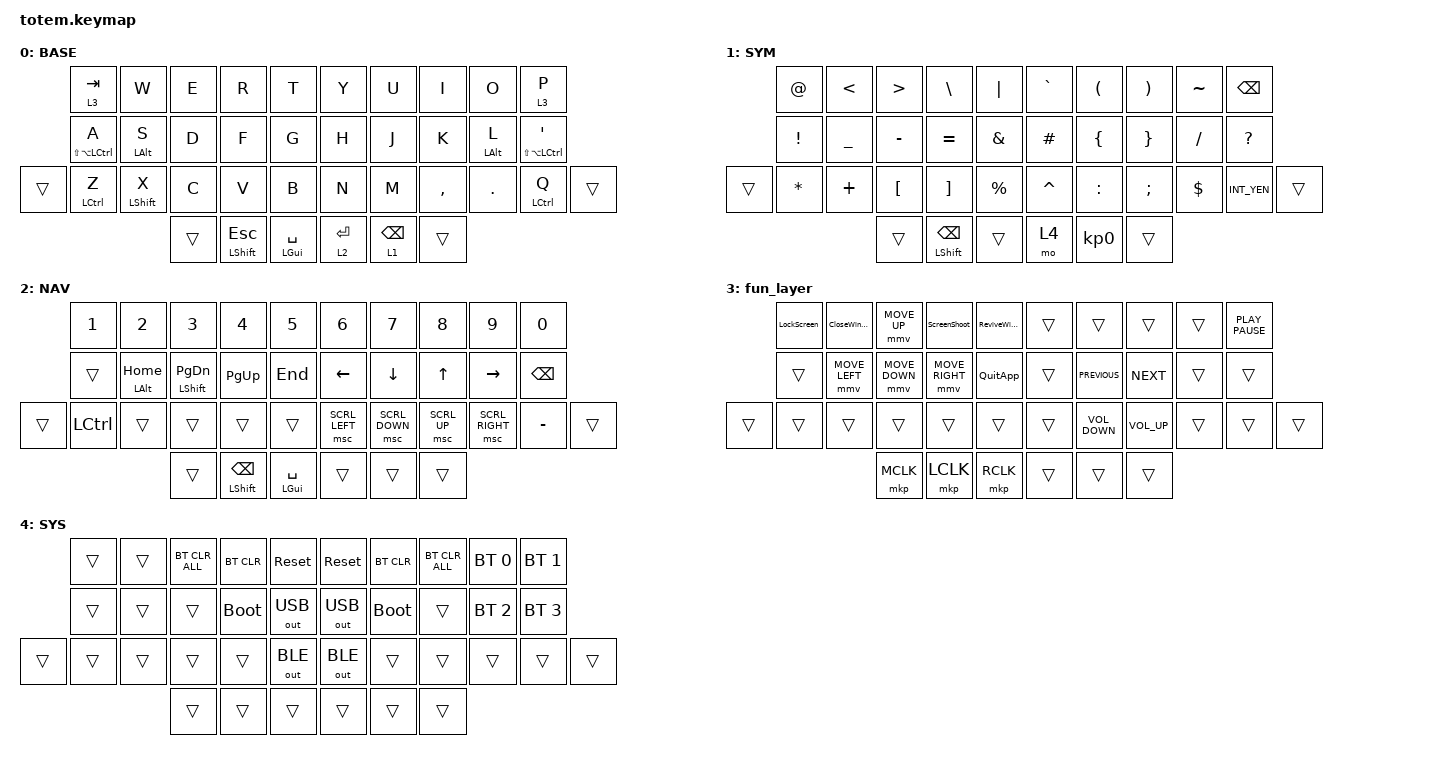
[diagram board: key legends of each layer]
//
//                                                        ▀▀▀▀▀     ▀▀▀▀▀          ▀▀█▀▀
//                                                        ▄▀▀▀▄  ▄  ▄▀▀▀▄  ▄  ▄▀▀▀▄  █  ▄▀▀▀▄
//                                                        █   █  █  █   █  █  █   █  █  █   █
//                                                         ▀▀▀   █   ▀▀▀   █   ▀▀▀   ▀   ▀▀▀
//                                                               █      ▄▄▄█▄▄▄    █   █  
//                                                               ▀      █  █  █     █▄█
//                                                             ▀▀▀▀▀    █  █  █      ▀
//                                                                      ▀  ▀  ▀
//
// ▄▄▄▄▄▄▄▄▄▄▄▄▄▄▄▄▄▄▄▄▄▄▄▄▄▄▄▄▄▄▄▄▄▄▄▄▄▄▄▄▄▄▄▄▄▄▄▄▄▄▄▄▄▄▄▄▄▄▄▄▄▄▄▄▄▄▄▄▄▄▄▄▄▄▄▄▄▄▄▄▄▄▄▄▄▄▄▄▄▄▄▄▄▄▄▄▄▄▄▄▄▄▄▄▄▄▄▄▄▄▄▄▄▄▄▄▄▄▄▄▄▄▄▄▄▄▄▄▄▄▄▄▄▄▄▄▄▄▄▄▄▄▄▄▄▄▄▄▄

#include <behaviors.dtsi>
#include <dt-bindings/zmk/bt.h>
#include <dt-bindings/zmk/keys.h>
#include <dt-bindings/zmk/outputs.h>
#include <dt-bindings/zmk/pointing.h>

#define BASE 0
#define NAV  1
#define SYM  2
#define ADJ  3
#define TVP1 4
#define TVP2 5

&mt {
    quick-tap-ms = <100>;
    global-quick-tap;
    flavor = "tap-preferred";
    tapping-term-ms = <180>;
};

/ {
    combos {
        compatible = "zmk,combos";

        Meh1 {
            bindings = <&kp LS(LA(LC(NUMBER_1)))>;
            key-positions = <6 7 8>;
        };

        Meh2 {
            bindings = <&kp LS(LA(LC(NUMBER_2)))>;
            key-positions = <16 17 18>;
        };

        Enter {
            bindings = <&kp ENTER>;
            key-positions = <28 29>;
            timeout-ms = <30>;
        };

        SysLayer {
            bindings = <&mo 4>;
            key-positions = <32 37>;
        };

        Tab {
            bindings = <&kp TAB>;
            key-positions = <23 24>;
            timeout-ms = <30>;
        };

        Hyper1 {
            bindings = <&kp LS(LA(LC(LG(NUMBER_1))))>;
            key-positions = <36 7 6>;
        };

        Hyper2 {
            bindings = <&kp LS(LA(LC(LG(NUMBER_2))))>;
            key-positions = <36 16 17>;
        };

        Hyper3 {
            bindings = <&kp LS(LA(LC(LG(NUMBER_3))))>;
            key-positions = <36 28 27>;
        };
    };

    macros {
        LockScreen: LockScreen {
            compatible = "zmk,behavior-macro";
            #binding-cells = <0>;
            bindings = <&kp LG(LC(Q))>;
            label = "LOCKSCREEN";
        };

        CloseWindow: CloseWindow {
            compatible = "zmk,behavior-macro";
            #binding-cells = <0>;
            bindings = <&kp LG(LS(W))>;
            label = "CLOSEWINDOW";
        };

        ScreenShoot: ScreenShoot {
            compatible = "zmk,behavior-macro";
            #binding-cells = <0>;
            bindings = <&kp LG(LS(NUMBER_4))>;
            label = "SCREENSHOOT";
        };

        ReviveWindow: ReviveWindow {
            compatible = "zmk,behavior-macro";
            #binding-cells = <0>;
            bindings = <&kp LG(LS(T))>;
            label = "REVIVEWINDOW";
        };

        Meh: Meh {
            compatible = "zmk,behavior-macro";
            #binding-cells = <0>;
            bindings = <&kp LS(LA(LEFT_CONTROL))>;
            label = "MEH";
        };

        QuitApp: QuitApp {
            compatible = "zmk,behavior-macro";
            #binding-cells = <0>;
            bindings = <&kp LG(Q)>;
            label = "QUITAPP";
        };
    };

    behaviors {
        mt_hold: mt_hold {
            compatible = "zmk,behavior-hold-tap";
            label = "MT_HOLD";
            bindings = <&kp>, <&kp>;

            #binding-cells = <2>;
            tapping-term-ms = <200>;
        };
    };

    keymap {
        compatible = "zmk,keymap";

        // ▄▄▄▄▄▄▄▄▄▄▄▄▄▄▄▄▄▄▄▄▄▄▄▄▄▄▄▄▄▄▄▄▄▄▄▄▄▄▄▄▄▄▄▄▄▄▄▄▄▄▄▄▄▄▄▄▄▄▄▄▄▄▄▄▄▄▄▄▄▄▄▄▄▄▄▄▄▄▄▄▄▄▄▄▄▄▄▄▄▄▄▄▄▄▄▄▄▄▄▄▄▄▄▄▄▄▄▄▄▄▄▄▄▄▄▄▄▄▄▄▄▄▄▄▄▄▄▄▄▄▄▄▄▄▄▄▄▄▄▄▄▄▄▄▄▄▄▄▄

        base_layer {
            // ┏━━━━━━━━━━━━━━━━━━━━━━━━━━━━━━━━━━━━━━━┓

            label = "BASE";

            // ┗━━━━━━━━━━━━━━━━━━━━━━━━━━━━━━━━━━━━━━━┛
            //             ┏━━━━━━━━━━━┳━━━━━━━━━━━┳━━━━━━━━━━━┳━━━━━━━━━━━┳━━━━━━━━━━━┓   ┏━━━━━━━━━━━┳━━━━━━━━━━━┳━━━━━━━━━━━┳━━━━━━━━━━━┳━━━━━━━━━━━┓
            //             ┃     Q     ┃     W     ┃     F     ┃     P     ┃     G     ┃   ┃     J     ┃     L     ┃     U     ┃     Y     ┃     ;     ┃
            //             ┣━━━━━━━━━━━╋━━━━━━━━━━━╋━━━━━━━━━━━╋━━━━━━━━━━━╋━━━━━━━━━━━┫   ┣━━━━━━━━━━━╋━━━━━━━━━━━╋━━━━━━━━━━━╋━━━━━━━━━━━╋━━━━━━━━━━━┫
            //             ┃     A     ┃     R     ┃     S     ┃     T     ┃     D     ┃   ┃     H     ┃     N     ┃     E     ┃     I     ┃     O     ┃
            // ┏━━━━━━━━━━━╋━━━━━━━━━━━╋━━━━━━━━━━━╋━━━━━━━━━━━╋━━━━━━━━━━━╋━━━━━━━━━━━┫   ┣━━━━━━━━━━━╋━━━━━━━━━━━╋━━━━━━━━━━━╋━━━━━━━━━━━╋━━━━━━━━━━━╋━━━━━━━━━━━┓
            // ┃     Q     ┃     Z     ┃     X     ┃     C     ┃     V     ┃     B     ┃   ┃     K     ┃     M     ┃     ,     ┃     .     ┃     /     ┃     \     ┃
            // ┗━━━━━━━━━━━┻━━━━━━━━━━━┻━━━━━━━━━━━╋━━━━━━━━━━━╋━━━━━━━━━━━╋━━━━━━━━━━━┫   ┣━━━━━━━━━━━╋━━━━━━━━━━━╋━━━━━━━━━━━╋━━━━━━━━━━━┻━━━━━━━━━━━┻━━━━━━━━━━━┛
            //                                     ┃    DEL    ┃    TAB    ┃    SPC    ┃   ┃   ENTER   ┃           ┃   BSPC    ┃
            //                                     ┗━━━━━━━━━━━┻━━━━━━━━━━━┻━━━━━━━━━━━┛   ┗━━━━━━━━━━━┻━━━━━━━━━━━┻━━━━━━━━━━━┛

            bindings = <
        &lt 3 TAB                   &kp W             &kp E   &kp R                       &kp T                 &kp Y        &kp U            &kp I      &kp O           &lt 3 P
        &mt LS(LA(LEFT_CONTROL)) A  &mt LEFT_ALT S    &kp D   &kp F                       &kp G                 &kp H        &kp J            &kp K      &mt LEFT_ALT L  &mt LS(LA(LEFT_CONTROL)) SINGLE_QUOTE
&trans  &mt LEFT_CONTROL Z          &mt LEFT_SHIFT X  &kp C   &kp V                       &kp B                 &kp N        &kp M            &kp COMMA  &kp DOT         &mt LEFT_CONTROL Q                     &trans
                                                      &trans  &mt_hold LEFT_SHIFT ESCAPE  &mt LEFT_GUI SPACE    &lt 2 ENTER  &lt 1 BACKSPACE  &trans
            >;
        };

        sym_layer {
            // ┏━━━━━━━━━━━━━━━━━━━━━━━━━━━━━━━━━━━━━━━┓

            label = "SYM";

            // ┗━━━━━━━━━━━━━━━━━━━━━━━━━━━━━━━━━━━━━━━┛
            //             ┏━━━━━━━━━━━┳━━━━━━━━━━━┳━━━━━━━━━━━┳━━━━━━━━━━━┳━━━━━━━━━━━┓   ┏━━━━━━━━━━━┳━━━━━━━━━━━┳━━━━━━━━━━━┳━━━━━━━━━━━┳━━━━━━━━━━━┓
            //             ┃           ┃           ┃     UP    ┃           ┃     {     ┃   ┃     }     ┃     7     ┃     8     ┃     9     ┃     +     ┃
            //             ┣━━━━━━━━━━━╋━━━━━━━━━━━╋━━━━━━━━━━━╋━━━━━━━━━━━╋━━━━━━━━━━━┫   ┣━━━━━━━━━━━╋━━━━━━━━━━━╋━━━━━━━━━━━╋━━━━━━━━━━━╋━━━━━━━━━━━┫
            //             ┃   SHIFT   ┃   LEFT    ┃    DOWN   ┃   RIGHT   ┃     [     ┃   ┃     ]     ┃     4     ┃     5     ┃     6     ┃     -     ┃
            // ┏━━━━━━━━━━━╋━━━━━━━━━━━╋━━━━━━━━━━━╋━━━━━━━━━━━╋━━━━━━━━━━━╋━━━━━━━━━━━┫   ┣━━━━━━━━━━━╋━━━━━━━━━━━╋━━━━━━━━━━━╋━━━━━━━━━━━╋━━━━━━━━━━━╋━━━━━━━━━━━┓
            // ┃           ┃           ┃   P UP    ┃  C LOCK   ┃  P DOWN   ┃     (     ┃   ┃     )     ┃     1     ┃     2     ┃     3     ┃     *     ┃           ┃
            // ┗━━━━━━━━━━━┻━━━━━━━━━━━┻━━━━━━━━━━━╋━━━━━━━━━━━╋━━━━━━━━━━━╋━━━━━━━━━━━┫   ┣━━━━━━━━━━━╋━━━━━━━━━━━╋━━━━━━━━━━━╋━━━━━━━━━━━┻━━━━━━━━━━━┻━━━━━━━━━━━┛
            //                                     ┃           ┃    TAB    ┃    SPC    ┃   ┃    DEL    ┃     0     ┃           ┃
            //                                     ┗━━━━━━━━━━━┻━━━━━━━━━━━┻━━━━━━━━━━━┛   ┗━━━━━━━━━━━┻━━━━━━━━━━━┻━━━━━━━━━━━┛

            bindings = <
        &kp AT           &kp LESS_THAN  &kp GREATER_THAN  &kp BACKSLASH             &kp PIPE       &kp GRAVE  &kp LEFT_PARENTHESIS  &kp RIGHT_PARENTHESIS  &kp TILDE   &kp BACKSPACE
        &kp EXCLAMATION  &kp UNDER      &kp MINUS         &kp EQUAL                 &kp AMPS       &kp HASH   &kp LEFT_BRACE        &kp RIGHT_BRACE        &kp SLASH   &kp QUESTION
&trans  &kp STAR         &kp PLUS       &kp LEFT_BRACKET  &kp RIGHT_BRACKET         &kp PERCENT    &kp CARET  &kp COLON             &kp SEMI               &kp DOLLAR  &kp INT_YEN    &trans
                                        &trans            &mt LEFT_SHIFT BACKSPACE  &trans         &mo 4      &kp KP_N0             &trans
            >;
        };

        nav_layer {
            // ┏━━━━━━━━━━━━━━━━━━━━━━━━━━━━━━━━━━━━━━━┓

            label = "NAV";

            // ┗━━━━━━━━━━━━━━━━━━━━━━━━━━━━━━━━━━━━━━━┛
            //             ┏━━━━━━━━━━━┳━━━━━━━━━━━┳━━━━━━━━━━━┳━━━━━━━━━━━┳━━━━━━━━━━━┓   ┏━━━━━━━━━━━┳━━━━━━━━━━━┳━━━━━━━━━━━┳━━━━━━━━━━━┳━━━━━━━━━━━┓
            //             ┃     !     ┃     @     ┃     #     ┃     $     ┃     %     ┃   ┃     ˆ     ┃     &     ┃     Ü     ┃     '     ┃     "     ┃
            //             ┣━━━━━━━━━━━╋━━━━━━━━━━━╋━━━━━━━━━━━╋━━━━━━━━━━━╋━━━━━━━━━━━┫   ┣━━━━━━━━━━━╋━━━━━━━━━━━╋━━━━━━━━━━━╋━━━━━━━━━━━╋━━━━━━━━━━━┫
            //             ┃     Ä     ┃           ┃    SZ     ┃           ┃           ┃   ┃   MUTE    ┃   YEN     ┃   EURO    ┃  POUND    ┃     Ö     ┃
            // ┏━━━━━━━━━━━╋━━━━━━━━━━━╋━━━━━━━━━━━╋━━━━━━━━━━━╋━━━━━━━━━━━╋━━━━━━━━━━━┫   ┣━━━━━━━━━━━╋━━━━━━━━━━━╋━━━━━━━━━━━╋━━━━━━━━━━━╋━━━━━━━━━━━╋━━━━━━━━━━━┓
            // ┃           ┃  EMAIL1   ┃  EMAIL2   ┃           ┃           ┃           ┃   ┃   VOL-    ┃   VOL+    ┃   LAST    ┃   NEXT    ┃     \     ┃           ┃
            // ┗━━━━━━━━━━━┻━━━━━━━━━━━┻━━━━━━━━━━━╋━━━━━━━━━━━╋━━━━━━━━━━━╋━━━━━━━━━━━┫   ┣━━━━━━━━━━━╋━━━━━━━━━━━╋━━━━━━━━━━━╋━━━━━━━━━━━┻━━━━━━━━━━━┻━━━━━━━━━━━┛
            //                                     ┃           ┃    GIF    ┃    ADJ    ┃   ┃           ┃           ┃           ┃
            //                                     ┗━━━━━━━━━━━┻━━━━━━━━━━━┻━━━━━━━━━━━┛   ┗━━━━━━━━━━━┻━━━━━━━━━━━┻━━━━━━━━━━━┛

            bindings = <
        &kp NUMBER_1      &kp NUMBER_2       &kp NUMBER_3              &kp NUMBER_4              &kp NUMBER_5          &kp NUMBER_6    &kp NUMBER_7    &kp NUMBER_8  &kp NUMBER_9     &kp NUMBER_0
        &trans            &mt LEFT_ALT HOME  &mt LEFT_SHIFT PAGE_DOWN  &kp PAGE_UP               &kp END               &kp LEFT_ARROW  &kp DOWN_ARROW  &kp UP_ARROW  &kp RIGHT_ARROW  &kp BACKSPACE
&trans  &kp LEFT_CONTROL  &trans             &trans                    &trans                    &trans                &msc SCRL_LEFT  &msc SCRL_DOWN  &msc SCRL_UP  &msc SCRL_RIGHT  &kp MINUS      &trans
                                             &trans                    &mt LEFT_SHIFT BACKSPACE  &mt LEFT_GUI SPACE    &trans          &trans          &trans
            >;
        };

        fun_layer {
            bindings = <
        &LockScreen  &CloseWindow    &mmv MOVE_UP    &ScreenShoot     &ReviveWindow    &trans  &trans             &trans           &trans  &kp K_PLAY_PAUSE
        &trans       &mmv MOVE_LEFT  &mmv MOVE_DOWN  &mmv MOVE_RIGHT  &QuitApp         &trans  &kp K_PREVIOUS     &kp K_NEXT       &trans  &trans
&trans  &trans       &trans          &trans          &trans           &trans           &trans  &kp K_VOLUME_DOWN  &kp K_VOLUME_UP  &trans  &trans            &trans
                                     &mkp MCLK       &mkp LCLK        &mkp RCLK        &trans  &trans             &trans
            >;
        };

        sys_layer {
            // ┏━━━━━━━━━━━━━━━━━━━━━━━━━━━━━━━━━━━━━━━┓

            label = "SYS";

            // ┗━━━━━━━━━━━━━━━━━━━━━━━━━━━━━━━━━━━━━━━┛
            //             ┏━━━━━━━━━━━┳━━━━━━━━━━━┳━━━━━━━━━━━┳━━━━━━━━━━━┳━━━━━━━━━━━┓   ┏━━━━━━━━━━━┳━━━━━━━━━━━┳━━━━━━━━━━━┳━━━━━━━━━━━┳━━━━━━━━━━━┓
            //             ┃   RESET   ┃ BT CLEAR  ┃  OUT TOG  ┃           ┃           ┃   ┃           ┃    F7     ┃    F8     ┃    F9     ┃    F12    ┃
            //             ┣━━━━━━━━━━━╋━━━━━━━━━━━╋━━━━━━━━━━━╋━━━━━━━━━━━╋━━━━━━━━━━━┫   ┣━━━━━━━━━━━╋━━━━━━━━━━━╋━━━━━━━━━━━╋━━━━━━━━━━━╋━━━━━━━━━━━┫
            //             ┃ BOOTLOAD  ┃ BT NEXT   ┃           ┃           ┃           ┃   ┃           ┃    F4     ┃    F5     ┃    F6     ┃    F11    ┃
            // ┏━━━━━━━━━━━╋━━━━━━━━━━━╋━━━━━━━━━━━╋━━━━━━━━━━━╋━━━━━━━━━━━╋━━━━━━━━━━━┫   ┣━━━━━━━━━━━╋━━━━━━━━━━━╋━━━━━━━━━━━╋━━━━━━━━━━━╋━━━━━━━━━━━╋━━━━━━━━━━━┓
            // ┃           ┃           ┃ BT PREV   ┃           ┃           ┃           ┃   ┃           ┃    F1     ┃    F2     ┃    F3     ┃    F10    ┃           ┃
            // ┗━━━━━━━━━━━┻━━━━━━━━━━━┻━━━━━━━━━━━╋━━━━━━━━━━━╋━━━━━━━━━━━╋━━━━━━━━━━━┫   ┣━━━━━━━━━━━╋━━━━━━━━━━━╋━━━━━━━━━━━╋━━━━━━━━━━━┻━━━━━━━━━━━┻━━━━━━━━━━━┛
            //                                     ┃           ┃           ┃           ┃   ┃           ┃           ┃           ┃
            //                                     ┗━━━━━━━━━━━┻━━━━━━━━━━━┻━━━━━━━━━━━┛   ┗━━━━━━━━━━━┻━━━━━━━━━━━┻━━━━━━━━━━━┛

            bindings = <
        &trans  &trans  &bt BT_CLR_ALL  &bt BT_CLR   &sys_reset      &sys_reset    &bt BT_CLR   &bt BT_CLR_ALL  &bt BT_SEL 0  &bt BT_SEL 1
        &trans  &trans  &trans          &bootloader  &out OUT_USB    &out OUT_USB  &bootloader  &trans          &bt BT_SEL 2  &bt BT_SEL 3
&trans  &trans  &trans  &trans          &trans       &out OUT_BLE    &out OUT_BLE  &trans       &trans          &trans        &trans        &trans
                        &trans          &trans       &trans          &trans        &trans       &trans
            >;
        };
    };
};
